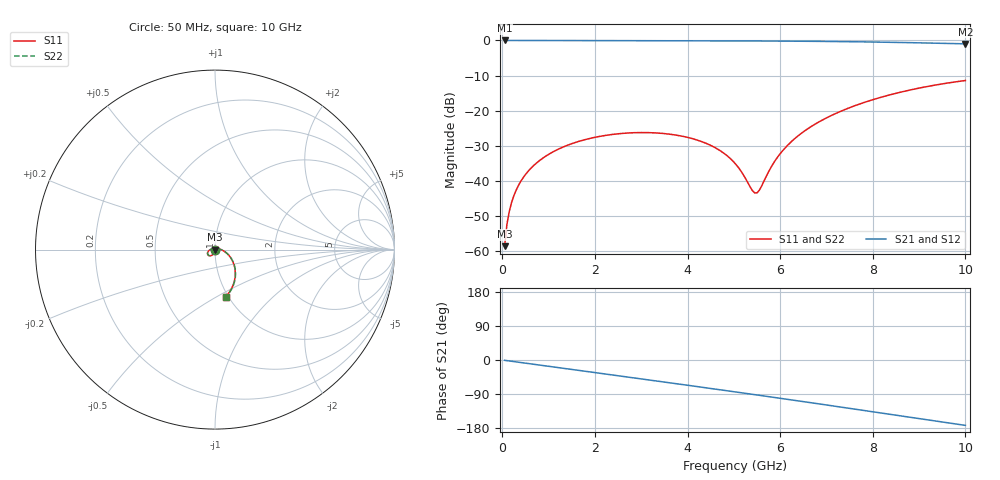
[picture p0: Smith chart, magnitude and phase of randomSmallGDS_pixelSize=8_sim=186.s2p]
! freq	dB(S11)	phase(S11)	dB(S12)	phase(S12)
!  dB(S21)	phase(S21)	dB(S22)	phase(S22)
!S-par simulation data
#  GHz  S  DB  R 50
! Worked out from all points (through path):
!   200 points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, 50 MHz to 10 GHz, reference 50 ohm
!   highest |S21| = 0.00 dB at 50 MHz (marker M1); lowest = -1.0 dB at 10 GHz (marker M2)
!   group delay of S21, straight-line fit = 47.9 ps
!   lowest |S11| = -58.6 dB at 50 MHz (marker M3), VSWR 1.00, Z = 50 - j0.117 ohm
!   |S11| at or under -10 dB: start of sweep to end of sweep
!   |S22| runs from -58.8 to -11.4 dB; largest |S21 - S12| = 0
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0.05  -58.62 -91.5  -0.00 -0.8  -0.00 -0.8  -58.76 -94.4
0.1  -52.41 -93.4  -0.00 -1.7  -0.00 -1.7  -52.33 -94.8
0.2  -46.20 -95.0  -0.00 -3.3  -0.00 -3.3  -46.14 -95.3
0.35  -41.29 -97.2  -0.00 -5.9  -0.00 -5.9  -41.26 -97.3
0.5  -38.21 -99.6  -0.01 -8.4  -0.01 -8.4  -38.20 -99.6
1  -32.46 -108.0  -0.02 -16.6  -0.02 -16.6  -32.45 -108.0
1.75  -28.39 -120.9  -0.04 -29.1  -0.04 -29.1  -28.39 -120.9
2.55  -26.53 -134.9  -0.05 -42.3  -0.05 -42.3  -26.53 -134.8
3.4  -26.42 -150.1  -0.07 -56.5  -0.07 -56.5  -26.42 -150.1
4.4  -29.31 -170.9  -0.10 -73.4  -0.10 -73.4  -29.31 -170.8
4.75  -31.80 179.2  -0.11 -79.3  -0.11 -79.3  -31.81 179.3
5.05  -35.41 166.0  -0.12 -84.5  -0.12 -84.5  -35.42 166.0
5.4  -42.77 116.5  -0.14 -90.5  -0.14 -90.5  -42.73 116.2
5.5  -43.42 82.2  -0.15 -92.3  -0.15 -92.3  -43.33 82.0
5.85  -35.10 16.8  -0.17 -98.4  -0.17 -98.4  -35.06 17.2
6.05  -31.48 5.5  -0.18 -101.9  -0.18 -101.9  -31.45 5.9
6.35  -27.58 -5.0  -0.21 -107.1  -0.21 -107.1  -27.56 -4.7
6.7  -24.28 -14.1  -0.24 -113.3  -0.24 -113.3  -24.26 -13.7
7.45  -19.41 -30.1  -0.34 -126.7  -0.34 -126.7  -19.39 -29.7
8.35  -15.56 -47.4  -0.52 -142.9  -0.52 -142.9  -15.55 -46.9
9.2  -13.06 -63.1  -0.73 -158.2  -0.73 -158.2  -13.05 -62.5
10  -11.41 -77.3  -0.96 -172.5  -0.96 -172.5  -11.40 -76.6
